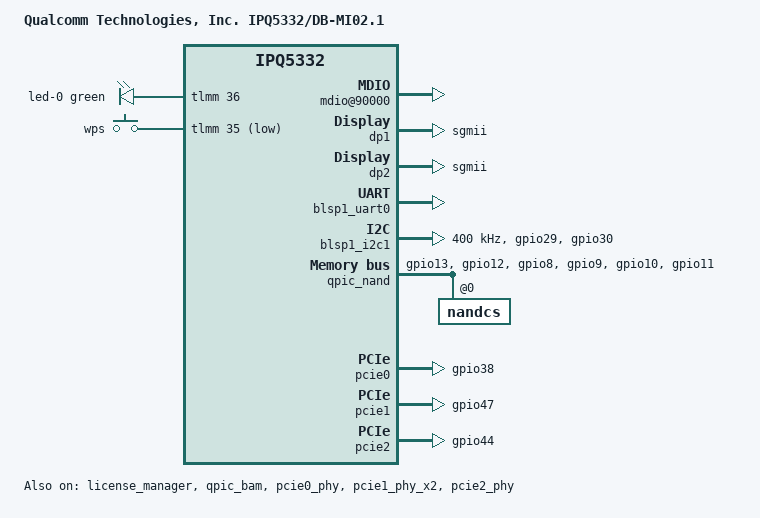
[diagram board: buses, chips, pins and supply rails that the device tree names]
// SPDX-License-Identifier: (GPL-2.0+ OR BSD-3-Clause)
/*
 * IPQ5332 DB-MI02.1 board device tree source
 *
 * Copyright (c) 2020-2021 The Linux Foundation. All rights reserved.
 * Copyright (c) 2022-2023 Qualcomm Innovation Center, Inc. All rights reserved.
 */

/dts-v1/;

#include "ipq5332.dtsi"
#include <dt-bindings/gpio/gpio.h>
#include <dt-bindings/input/input.h>
#include <dt-bindings/leds/common.h>
#include "ipq5332-default-memory.dtsi"

/ {
	model = "Qualcomm Technologies, Inc. IPQ5332/DB-MI02.1";
	compatible = "qcom,ipq5332-db-mi02.1", "qcom,ipq5332";

	aliases {
		serial0 = &blsp1_uart0;
		ethernet0 = "/soc/dp1";
		ethernet1 = "/soc/dp2";
	};

	chosen {
		stdout-path = "serial0";
	};

	soc@0 {
		leds {
			compatible = "gpio-leds";
			pinctrl-0 = <&gpio_leds_default>;
			pinctrl-names = "default";

			led-0 {
				color = <LED_COLOR_ID_GREEN>;
				function = LED_FUNCTION_WLAN;
				gpios = <&tlmm 36 GPIO_ACTIVE_HIGH>;
				linux,default-trigger = "phy0tx";
				default-state = "off";
			};
		};

		gpio_keys {
			compatible = "gpio-keys";
			pinctrl-0 = <&button_pins>;
			pinctrl-names = "default";
			status = "okay";

			button@1 {
				label = "wps";
				linux,code = <KEY_WPS_BUTTON>;
				gpios = <&tlmm 35 GPIO_ACTIVE_LOW>;
				linux,input-type = <1>;
				debounce-interval = <60>;
			};
		};

		mdio@90000 {
			status = "ok";
			pinctrl-0 = <&mdio1_pins>;
			pinctrl-names = "default";
		};

		ess-instance {
			ess-switch@3a000000 {
				pinctrl-0 = <&sfp_pins>;
				pinctrl-names = "default";
				switch_cpu_bmp = <0x1>;  /* cpu port bitmap */
				switch_lan_bmp = <0x2>; /* lan port bitmap */
				switch_wan_bmp = <0x4>; /* wan port bitmap */
				switch_mac_mode = <0xe>; /* mac mode for uniphy instance0*/
				switch_mac_mode1 = <0xe>; /* mac mode for uniphy instance1*/
				switch_mac_mode2 = <0xff>; /* mac mode for uniphy instance2*/
				qcom,port_phyinfo {
					port@0 {
						port_id = <1>;
						phy_address = <30>;
						media-type = "sfp"; /* fiber mode */
						sfp_rx_los_pin = <&tlmm 48 0>;

					};
					port@1 {
						port_id = <2>;
						phy_address = <31>;
						media-type = "sfp"; /* fiber mode */
					};
				};
			};
		};

		dp1 {
			device_type = "network";
			compatible = "qcom,nss-dp";
			qcom,id = <2>;
			reg = <0x3a504000 0x4000>;
			qcom,mactype = <1>;
			local-mac-address = [000000000000];
			qcom,phy-mdio-addr = <31>;
			qcom,link-poll = <1>;
			phy-mode = "sgmii";
		};

		dp2 {
			device_type = "network";
			compatible = "qcom,nss-dp";
			qcom,id = <1>;
			reg = <0x3a500000 0x4000>;
			qcom,mactype = <1>;
			local-mac-address = [000000000000];
			qcom,phy-mdio-addr = <30>;
			qcom,link-poll = <1>;
			phy-mode = "sgmii";
			qcom,mht-dev = <1>;
			qcom,ppe-offload-disabled = <1>;
		};

		/* EDMA host driver configuration for the board */
		edma@3ab00000 {
			qcom,txdesc-ring-start = <4>;		/* Tx desc ring start ID */
			qcom,txdesc-rings = <12>;		/* Total number of Tx desc rings to be provisioned */
			qcom,mht-txdesc-rings = <8>;            /* Extra Tx desc rings to be provisioned for MHT SW ports */
			qcom,txcmpl-ring-start = <4>;		/* Tx complete ring start ID */
			qcom,txcmpl-rings = <12>;		/* Total number of Tx complete rings to be provisioned */
			qcom,mht-txcmpl-rings = <8>;            /* Extra Tx complete rings to be provisioned for mht sw ports. */
			qcom,rxfill-ring-start = <4>;		/* Rx fill ring start ID */
			qcom,rxfill-rings = <4>;		/* Total number of Rx fill rings to be provisioned */
			qcom,rxdesc-ring-start = <12>;		/* Rx desc ring start ID */
			qcom,rxdesc-rings = <4>;		/* Total number of Rx desc rings to be provisioned */
			qcom,rx-page-mode = <0>;		/* Rx fill ring page mode */
			qcom,tx-map-priority-level = <1>;	/* Tx priority level per port */
			qcom,rx-map-priority-level = <1>;	/* Rx priority level per core */
			qcom,ppeds-num = <2>;			/* Number of PPEDS nodes */
			/* PPE-DS node format: <Rx-fill Tx-cmpl Rx Tx Queue-base Queue-count> */
			qcom,ppeds-map = <1 1 1 1 32 8>,	/* PPEDS Node #1 ring and queue map */
					<2 2 2 2 40 8>;		/* PPEDS Node #2 ring and queue map */
			qcom,txdesc-map = <8 9 10 11>,		/* Port0 per-core Tx ring map */
					<12 13 14 15>,        /* MHT-Port1 per-core Tx ring map */
					<4 5 6 7>,            /* MHT-Port2 per-core Tx ring map/packets from  vp*/
					<16 17 18 19>,        /* MHT-Port3 per-core Tx ring map */
					<20 21 22 23>;        /* MHT-Port4 per-core Tx ring map */
			qcom,txdesc-fc-grp-map = <1 2 3 4 5>;   /* Per GMAC flow control group map */
			qcom,rxfill-map = <4 5 6 7>;		/* Per-core Rx fill ring map */
			qcom,rxdesc-map = <12 13 14 15>;	/* Per-core Rx desc ring map */
			qcom,rx-queue-start = <0>;		/* Rx queue start */
			qcom,rx-ring-queue-map = <0 8 16 24>,	/* Priority 0 queues per-core Rx ring map */
						<1 9 17 25>,	/* Priority 1 queues per-core Rx ring map */
						<2 10 18 26>,	/* Priority 2 queues per-core Rx ring map */
						<3 11 19 27>,	/* Priority 3 queues per-core Rx ring map */
						<4 12 20 28>,	/* Priority 4 queues per-core Rx ring map */
						<5 13 21 29>,	/* Priority 5 queues per-core Rx ring map */
						<6 14 22 30>,	/* Priority 6 queues per-core Rx ring map */
						<7 15 23 31>;	/* Priority 7 queues per-core Rx ring map */
			interrupts = <0 163 4>,			/* Tx complete ring id #4 IRQ info */
				   <0 164 4>,			/* Tx complete ring id #5 IRQ info */
				   <0 165 4>,			/* Tx complete ring id #6 IRQ info */
				   <0 166 4>,			/* Tx complete ring id #7 IRQ info */
				   <0 167 4>,			/* Tx complete ring id #8 IRQ info */
				   <0 168 4>,			/* Tx complete ring id #9 IRQ info */
				   <0 169 4>,			/* Tx complete ring id #10 IRQ info */
				   <0 170 4>,			/* Tx complete ring id #11 IRQ info */
				   <0 171 4>,			/* Tx complete ring id #12 IRQ info */
				   <0 172 4>,			/* Tx complete ring id #13 IRQ info */
				   <0 173 4>,			/* Tx complete ring id #14 IRQ info */
				   <0 174 4>,			/* Tx complete ring id #15 IRQ info */
				   <0 139 4>,			/* Rx desc ring id #12 IRQ info */
				   <0 140 4>,			/* Rx desc ring id #13 IRQ info */
				   <0 141 4>,			/* Rx desc ring id #14 IRQ info */
				   <0 142 4>,			/* Rx desc ring id #15 IRQ info */
				   <0 191 4>,			/* Misc error IRQ info */
				   <0 160 4>,			/* PPEDS Node #1(TxComp ring id #1) TxComplete IRQ info */
				   <0 128 4>,			/* PPEDS Node #1(Rx Desc ring id #1) Rx Desc IRQ info */
				   <0 152 4>,			/* PPEDS Node #1(RxFill Desc ring id #1) Rx Fill IRQ info */
				   <0 161 4>,			/* PPEDS Node #2(TxComp ring id #2) TxComplete IRQ info */
				   <0 129 4>,			/* PPEDS Node #2(Rx Desc ring id #2) Rx Desc IRQ info */
				   <0 153 4>,                      /* PPEDS Node #2(RxFill Desc ring id #2) Rx Fill IRQ info */
				   <0 175 4>,                   /* MHT port Tx complete ring id #16 IRQ info */
				   <0 176 4>,                   /* MHT port Tx complete ring id #17 IRQ info */
				   <0 177 4>,                   /* MHT port Tx complete ring id #18 IRQ info */
				   <0 178 4>,                   /* MHT port Tx complete ring id #19 IRQ info */
				   <0 179 4>,                   /* MHT port Tx complete ring id #20 IRQ info */
				   <0 180 4>,                   /* MHT port Tx complete ring id #21 IRQ info */
				   <0 181 4>,                   /* MHT port Tx complete ring id #22 IRQ info */
				   <0 182 4>;                   /* MHT port Tx complete ring id #23 IRQ info */
		};
	};
};

&blsp1_uart0 {
	pinctrl-0 = <&serial_0_pins>;
	pinctrl-names = "default";
	status = "okay";
};

&sdhc {
	bus-width = <4>;
	max-frequency = <192000000>;
	mmc-ddr-1_8v;
	mmc-hs200-1_8v;
	non-removable;
	pinctrl-0 = <&sdc_default_state>;
	pinctrl-names = "default";
	status = "disabled";
};

&blsp1_i2c1 {
	clock-frequency  = <400000>;
	pinctrl-0 = <&i2c_1_pins>;
	pinctrl-names = "default";
	status = "okay";
};

&sleep_clk {
	clock-frequency = <32000>;
};

&xo {
	clock-frequency = <24000000>;
};

&license_manager {
	status = "okay";
};

&qpic_bam {
	status = "okay";
};

&qpic_nand {
	pinctrl-0 = <&qspi_default_state>;
	pinctrl-names = "default";
	status = "okay";

	nandcs@0 {
		reg = <0>;
		#address-cells = <1>;
		#size-cells = <1>;

		nand-ecc-strength = <8>;
		nand-ecc-step-size = <512>;
		nand-bus-width = <8>;
	};
};

&pcie0_phy {
	status = "okay";
};

&pcie0 {
	pinctrl-0 = <&pcie0_default_state>;
	pinctrl-names = "default";
	perst-gpios = <&tlmm 38 GPIO_ACTIVE_LOW>;
	status = "okay";
};

&pcie1_phy_x2 {
	status = "okay";
};

&pcie1 {
	pinctrl-0 = <&pcie1_default_state>;
	pinctrl-names = "default";
	perst-gpios = <&tlmm 47 GPIO_ACTIVE_LOW>;
	status = "okay";
};

&pcie2_phy {
	status = "ok";
};

&pcie2 {
	pinctrl-0 = <&pcie2_default_state>;
	pinctrl-names = "default";
	perst-gpios = <&tlmm 44 GPIO_ACTIVE_LOW>;
	status = "okay";
};

/* PINCTRL */

&tlmm {
	sdc_default_state: sdc-default-state {
		clk-pins {
			pins = "gpio13";
			function = "sdc_clk";
			drive-strength = <8>;
			bias-disable;
		};

		cmd-pins {
			pins = "gpio12";
			function = "sdc_cmd";
			drive-strength = <8>;
			bias-pull-up;
		};

		data-pins {
			pins = "gpio8", "gpio9", "gpio10", "gpio11";
			function = "sdc_data";
			drive-strength = <8>;
			bias-pull-up;
		};
	};

	qspi_default_state: qspi-default-state {
		qspi_clock {
			pins = "gpio13";
			function = "qspi_clk";
			drive-strength = <8>;
			bias-pull-down;
		};

		qspi_cs {
			pins = "gpio12";
			function = "qspi_cs";
			drive-strength = <8>;
			bias-pull-up;
		};

		qspi_data {
			pins = "gpio8", "gpio9", "gpio10", "gpio11";
			function = "qspi_data";
			drive-strength = <8>;
			bias-pull-down;
		};
	};

	i2c_1_pins: i2c-1-state {
		pins = "gpio29", "gpio30";
		function = "blsp1_i2c0";
		drive-strength = <8>;
		bias-pull-up;
	};

	gpio_leds_default: gpio-leds-default-state {
		pins = "gpio36";
		function = "gpio";
		drive-strength = <8>;
		bias-pull-down;
	};

	button_pins: button-state {
		pins = "gpio35";
		function = "gpio";
		drive-strength = <8>;
		bias-pull-up;
	};

	pcie0_default_state: pcie0-default-state {
		pins = "gpio38";
		function = "gpio";
		drive-strength = <8>;
		bias-pull-up;
		output-low;
	};

	pcie1_default_state: pcie1-default-state {
		pins = "gpio47";
		function = "gpio";
		drive-strength = <8>;
		bias-pull-up;
		output-low;
	};

	pcie2_default_state: pcie2-default-state {
		pins = "gpio44";
		function = "gpio";
		drive-strength = <8>;
		bias-pull-up;
		output-low;
	};

	sfp_pins: sfp-state {
		sfp_rx {
			pins = "gpio45";
			function = "rx1";
			bias-disable;
		};
		sfp_tx {
			pins = "gpio24";
			function = "gpio";
			drive-strength = <8>;
			bias-pull-down;
			output-low;
		};
	};
};
